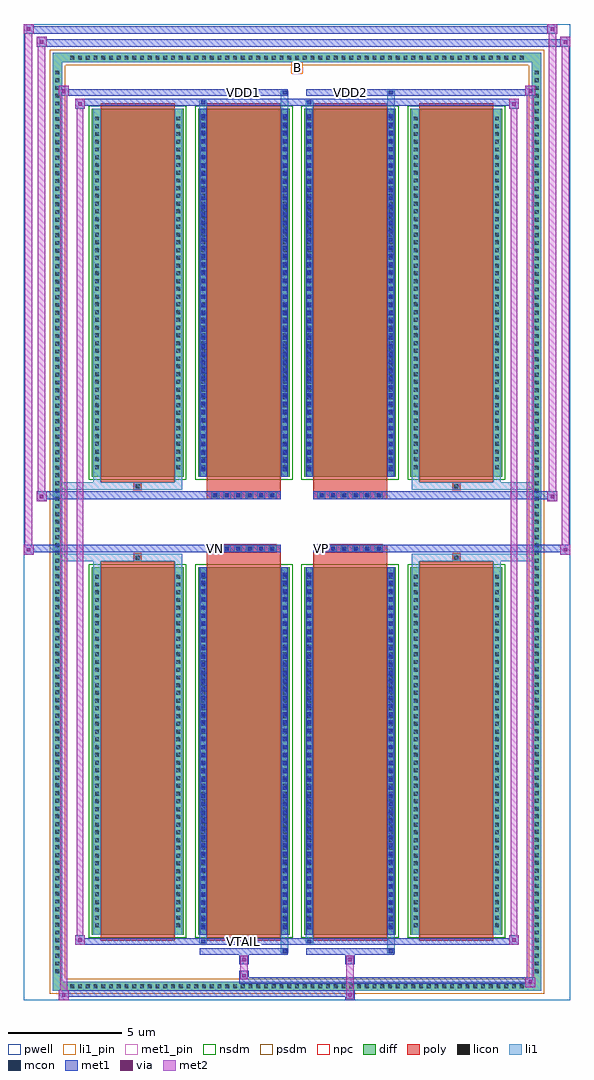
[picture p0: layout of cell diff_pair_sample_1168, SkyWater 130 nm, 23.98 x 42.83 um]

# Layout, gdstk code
import gdstk
lib = gdstk.Library(unit=1e-6, precision=5e-09)
def R(c, l, rs):  # rectangles x0, y0, x1, y1
    for r in rs: c.add(gdstk.rectangle(r[:2], r[2:], *l))
def A(c, l, x, y, w, h, nx, ny, dx, dy):  # array of equal rectangles
    R(c, l, [(x+i*dx, y+j*dy, x+i*dx+w, y+j*dy+h) for i in range(nx) for j in range(ny)])
def P(c, l, *ps):  # polygons
    for p in ps: c.add(gdstk.Polygon(p, *l))
pwell = (64, 44)
diff = (65, 20)
poly = (66, 20)
licon = (66, 44)
li1_pin = (67, 16)
li1 = (67, 20)
mcon = (67, 44)
met1_pin = (68, 16)
met1 = (68, 20)
via = (68, 44)
met2 = (69, 20)
nsdm = (93, 44)
psdm = (94, 20)
npc = (95, 20)

diff_pair_sample_1168 = lib.new_cell('diff_pair_sample_1168')
R(diff_pair_sample_1168, pwell, [(-11.99,-20.98,11.99,21.85), (-9.31,-19.17,-0.01,-0.805), (0.01,-19.17,9.31,-0.805), (-9.31,0.805,-0.01,19.17), (0.01,0.805,9.31,19.17)])
A(diff_pair_sample_1168, diff, -10.065, -20.58, 0.41, 0.41, 59, 2, 0.34, 40.75)
A(diff_pair_sample_1168, diff, -10.72, -19.925, 0.41, 0.41, 1, 117, 0, 0.34)
A(diff_pair_sample_1168, diff, 10.31, -19.925, 0.41, 0.41, 1, 117, 0, 0.34)
A(diff_pair_sample_1168, diff, -9, -18.125, 4.02, 16.14, 4, 2, 4.66, 20.11)
R(diff_pair_sample_1168, diff, [(-10.065,-20.58,10.065,-20.17), (-10.72,-19.925,-10.31,19.925), (10.31,-19.925,10.72,19.925), (-10.065,20.17,10.065,20.58)])
P(diff_pair_sample_1168, diff, [(10.72,20.58),(-10.72,20.58),(-10.72,-20.17),(-10.31,-20.17),(-10.31,20.17),(10.31,20.17),(10.31,-20.17),(-10.31,-20.17),(-10.72,-20.17),(-10.72,-20.58),(10.72,-20.58)])
A(diff_pair_sample_1168, poly, -8.61, -18.375, 3.24, 16.64, 4, 2, 4.66, 20.11)
A(diff_pair_sample_1168, poly, -3.745, -1.335, 0.33, 0.33, 6, 2, 0.5, 2.34)
A(diff_pair_sample_1168, poly, 0.915, -1.335, 0.33, 0.33, 6, 2, 0.5, 2.34)
R(diff_pair_sample_1168, poly, [(-7.155,-1.735,-6.825,-1.405), (-7.155,-1.735,-6.825,-1.405), (-3.95,-1.735,-0.71,-1.335), (0.71,-1.735,3.95,-1.335), (6.825,-1.735,7.155,-1.405), (6.825,-1.735,7.155,-1.405), (-3.95,-1.335,-0.71,-1.005), (0.71,-1.335,3.95,-1.005), (-3.95,1.005,-0.71,1.335), (0.71,1.005,3.95,1.335), (-3.95,1.335,-0.71,1.735), (0.71,1.335,3.95,1.735), (-7.155,1.405,-6.825,1.735), (-7.155,1.405,-6.825,1.735), (6.825,1.405,7.155,1.735), (6.825,1.405,7.155,1.735)])
A(diff_pair_sample_1168, licon, -9.945, -20.46, 0.17, 0.17, 59, 2, 0.34, 40.75)
A(diff_pair_sample_1168, licon, -10.6, -19.805, 0.17, 0.17, 1, 117, 0, 0.34)
A(diff_pair_sample_1168, licon, 10.43, -19.805, 0.17, 0.17, 1, 117, 0, 0.34)
A(diff_pair_sample_1168, licon, -8.86, -17.79, 0.17, 0.17, 1, 46, 0, 0.34)
A(diff_pair_sample_1168, licon, -5.29, -17.79, 0.17, 0.17, 1, 46, 0, 0.34)
A(diff_pair_sample_1168, licon, -4.2, -17.79, 0.17, 0.17, 1, 46, 0, 0.34)
A(diff_pair_sample_1168, licon, -0.63, -17.79, 0.17, 0.17, 1, 46, 0, 0.34)
A(diff_pair_sample_1168, licon, 0.46, -17.79, 0.17, 0.17, 1, 46, 0, 0.34)
A(diff_pair_sample_1168, licon, 4.03, -17.79, 0.17, 0.17, 1, 46, 0, 0.34)
A(diff_pair_sample_1168, licon, 5.12, -17.79, 0.17, 0.17, 1, 46, 0, 0.34)
A(diff_pair_sample_1168, licon, 8.69, -17.79, 0.17, 0.17, 1, 46, 0, 0.34)
A(diff_pair_sample_1168, licon, -3.665, -1.255, 0.17, 0.17, 6, 2, 0.5, 2.34)
A(diff_pair_sample_1168, licon, 0.995, -1.255, 0.17, 0.17, 6, 2, 0.5, 2.34)
A(diff_pair_sample_1168, licon, -8.86, 2.32, 0.17, 0.17, 1, 46, 0, 0.34)
A(diff_pair_sample_1168, licon, -5.29, 2.32, 0.17, 0.17, 1, 46, 0, 0.34)
A(diff_pair_sample_1168, licon, -4.2, 2.32, 0.17, 0.17, 1, 46, 0, 0.34)
A(diff_pair_sample_1168, licon, -0.63, 2.32, 0.17, 0.17, 1, 46, 0, 0.34)
A(diff_pair_sample_1168, licon, 0.46, 2.32, 0.17, 0.17, 1, 46, 0, 0.34)
A(diff_pair_sample_1168, licon, 4.03, 2.32, 0.17, 0.17, 1, 46, 0, 0.34)
A(diff_pair_sample_1168, licon, 5.12, 2.32, 0.17, 0.17, 1, 46, 0, 0.34)
A(diff_pair_sample_1168, licon, 8.69, 2.32, 0.17, 0.17, 1, 46, 0, 0.34)
R(diff_pair_sample_1168, licon, [(-7.075,-1.655,-6.905,-1.485), (6.905,-1.655,7.075,-1.485), (-7.075,1.485,-6.905,1.655), (6.905,1.485,7.075,1.655)])
R(diff_pair_sample_1168, li1_pin, [(-0.25,19.67,0.25,20.17)])
A(diff_pair_sample_1168, li1, -10.025, -20.54, 0.33, 0.33, 59, 2, 0.34, 40.75)
A(diff_pair_sample_1168, li1, -10.68, -19.885, 0.33, 0.33, 1, 117, 0, 0.34)
A(diff_pair_sample_1168, li1, 10.35, -19.885, 0.33, 0.33, 1, 117, 0, 0.34)
A(diff_pair_sample_1168, li1, -4.2, -17.88, 0.17, 0.17, 1, 44, 0, 0.36)
A(diff_pair_sample_1168, li1, -0.63, -17.88, 0.17, 0.17, 1, 44, 0, 0.36)
A(diff_pair_sample_1168, li1, 0.46, -17.88, 0.17, 0.17, 1, 44, 0, 0.36)
A(diff_pair_sample_1168, li1, 4.03, -17.88, 0.17, 0.17, 1, 44, 0, 0.36)
A(diff_pair_sample_1168, li1, -8.94, -17.87, 0.33, 0.33, 1, 46, 0, 0.34)
A(diff_pair_sample_1168, li1, -5.37, -17.87, 0.33, 0.33, 1, 46, 0, 0.34)
A(diff_pair_sample_1168, li1, -4.28, -17.87, 0.33, 0.33, 1, 46, 0, 0.34)
A(diff_pair_sample_1168, li1, -0.71, -17.87, 0.33, 0.33, 1, 46, 0, 0.34)
A(diff_pair_sample_1168, li1, 0.38, -17.87, 0.33, 0.33, 1, 46, 0, 0.34)
A(diff_pair_sample_1168, li1, 3.95, -17.87, 0.33, 0.33, 1, 46, 0, 0.34)
A(diff_pair_sample_1168, li1, 5.04, -17.87, 0.33, 0.33, 1, 46, 0, 0.34)
A(diff_pair_sample_1168, li1, 8.61, -17.87, 0.33, 0.33, 1, 46, 0, 0.34)
A(diff_pair_sample_1168, li1, -3.745, -1.335, 0.33, 0.33, 6, 2, 0.5, 2.34)
A(diff_pair_sample_1168, li1, 0.915, -1.335, 0.33, 0.33, 6, 2, 0.5, 2.34)
A(diff_pair_sample_1168, li1, -4.2, 2.23, 0.17, 0.17, 1, 44, 0, 0.36)
A(diff_pair_sample_1168, li1, -0.63, 2.23, 0.17, 0.17, 1, 44, 0, 0.36)
A(diff_pair_sample_1168, li1, 0.46, 2.23, 0.17, 0.17, 1, 44, 0, 0.36)
A(diff_pair_sample_1168, li1, 4.03, 2.23, 0.17, 0.17, 1, 44, 0, 0.36)
A(diff_pair_sample_1168, li1, -8.94, 2.24, 0.33, 0.33, 1, 46, 0, 0.34)
A(diff_pair_sample_1168, li1, -5.37, 2.24, 0.33, 0.33, 1, 46, 0, 0.34)
A(diff_pair_sample_1168, li1, -4.28, 2.24, 0.33, 0.33, 1, 46, 0, 0.34)
A(diff_pair_sample_1168, li1, -0.71, 2.24, 0.33, 0.33, 1, 46, 0, 0.34)
A(diff_pair_sample_1168, li1, 0.38, 2.24, 0.33, 0.33, 1, 46, 0, 0.34)
A(diff_pair_sample_1168, li1, 3.95, 2.24, 0.33, 0.33, 1, 46, 0, 0.34)
A(diff_pair_sample_1168, li1, 5.04, 2.24, 0.33, 0.33, 1, 46, 0, 0.34)
A(diff_pair_sample_1168, li1, 8.61, 2.24, 0.33, 0.33, 1, 46, 0, 0.34)
R(diff_pair_sample_1168, li1, [(-10.72,-20.58,-10.31,-20.17), (-10.72,-20.58,-10.31,-20.17), (-10.31,-20.58,10.31,-20.17), (10.31,-20.58,10.72,-20.17), (10.31,-20.58,10.72,-20.17), (-10.72,-20.17,-10.31,20.17), (10.31,-20.17,10.72,20.17), (-0.71,-18.93,-0.38,-18.125), (-0.63,-18.93,-0.46,-18.76), (3.95,-18.93,4.28,-18.125), (4.03,-18.93,4.2,-18.76), (-4.28,-18.5,-3.95,-18.125), (-4.2,-18.5,-4.03,-18.33), (0.38,-18.5,0.71,-18.125), (0.46,-18.5,0.63,-18.33), (-8.94,-18.125,-8.61,-1.985), (-5.37,-18.125,-5.04,-1.985), (-4.28,-18.125,-3.95,-1.985), (-0.71,-18.125,-0.38,-1.985), (0.38,-18.125,0.71,-1.985), (3.95,-18.125,4.28,-1.985), (5.04,-18.125,5.37,-1.985), (8.61,-18.125,8.94,-1.985), (-4.2,-17.88,-4.03,-2.23), (-0.63,-17.88,-0.46,-2.23), (0.46,-17.88,0.63,-2.23), (4.03,-17.88,4.2,-2.23), (-8.94,-1.985,-8.61,-1.405), (-5.37,-1.985,-5.04,-1.405), (5.04,-1.985,5.37,-1.405), (8.61,-1.985,8.94,-1.405), (-10.72,-1.735,-7.155,-1.405), (-8.94,-1.735,-7.155,-1.405), (-7.155,-1.735,-6.825,-1.405), (-6.825,-1.735,-5.04,-1.405), (5.04,-1.735,6.825,-1.405), (6.825,-1.735,7.155,-1.405), (6.825,-1.735,10.72,-1.405), (7.155,-1.735,8.94,-1.405), (-10.72,1.405,-7.155,1.735), (-8.94,1.405,-7.155,1.735), (-8.94,1.405,-8.61,1.985), (-7.155,1.405,-6.825,1.735), (-6.825,1.405,-5.04,1.735), (-5.37,1.405,-5.04,1.985), (5.04,1.405,6.825,1.735), (5.04,1.405,5.37,1.985), (6.825,1.405,7.155,1.735), (6.825,1.405,10.72,1.735), (7.155,1.405,8.94,1.735), (8.61,1.405,8.94,1.985), (-8.94,1.985,-8.61,18.125), (-5.37,1.985,-5.04,18.125), (-4.28,1.985,-3.95,18.125), (-0.71,1.985,-0.38,18.125), (0.38,1.985,0.71,18.125), (3.95,1.985,4.28,18.125), (5.04,1.985,5.37,18.125), (8.61,1.985,8.94,18.125), (-4.2,2.23,-4.03,17.88), (-0.63,2.23,-0.46,17.88), (0.46,2.23,0.63,17.88), (4.03,2.23,4.2,17.88), (-4.28,18.125,-3.95,18.5), (-0.71,18.125,-0.38,18.93), (0.38,18.125,0.71,18.5), (3.95,18.125,4.28,18.93), (-4.2,18.33,-4.03,18.5), (0.46,18.33,0.63,18.5), (-0.63,18.76,-0.46,18.93), (4.03,18.76,4.2,18.93), (-10.72,20.17,-10.31,20.58), (-10.72,20.17,-10.31,20.58), (-10.31,20.17,10.31,20.58), (10.31,20.17,10.72,20.58), (10.31,20.17,10.72,20.58)])
A(diff_pair_sample_1168, mcon, -4.2, -17.88, 0.17, 0.17, 1, 44, 0, 0.36)
A(diff_pair_sample_1168, mcon, -0.63, -17.88, 0.17, 0.17, 1, 44, 0, 0.36)
A(diff_pair_sample_1168, mcon, 0.46, -17.88, 0.17, 0.17, 1, 44, 0, 0.36)
A(diff_pair_sample_1168, mcon, 4.03, -17.88, 0.17, 0.17, 1, 44, 0, 0.36)
A(diff_pair_sample_1168, mcon, -3.665, -1.255, 0.17, 0.17, 6, 2, 0.5, 2.34)
A(diff_pair_sample_1168, mcon, 0.995, -1.255, 0.17, 0.17, 6, 2, 0.5, 2.34)
A(diff_pair_sample_1168, mcon, -4.2, 2.23, 0.17, 0.17, 1, 44, 0, 0.36)
A(diff_pair_sample_1168, mcon, -0.63, 2.23, 0.17, 0.17, 1, 44, 0, 0.36)
A(diff_pair_sample_1168, mcon, 0.46, 2.23, 0.17, 0.17, 1, 44, 0, 0.36)
A(diff_pair_sample_1168, mcon, 4.03, 2.23, 0.17, 0.17, 1, 44, 0, 0.36)
R(diff_pair_sample_1168, mcon, [(-0.63,-18.93,-0.46,-18.76), (4.03,-18.93,4.2,-18.76), (-4.2,-18.5,-4.03,-18.33), (0.46,-18.5,0.63,-18.33), (-4.2,18.33,-4.03,18.5), (0.46,18.33,0.63,18.5), (-0.63,18.76,-0.46,18.93), (4.03,18.76,4.2,18.93)])
R(diff_pair_sample_1168, met1_pin, [(-2.465,-18.54,-2.195,-18.27), (-3.715,-1.295,-3.445,-1.025), (0.945,-1.295,1.215,-1.025), (-2.465,18.72,-2.195,18.99), (2.195,18.72,2.465,18.99)])
A(diff_pair_sample_1168, met1, -4.26, -17.94, 0.29, 0.29, 1, 44, 0, 0.36)
A(diff_pair_sample_1168, met1, -0.69, -17.94, 0.29, 0.29, 1, 44, 0, 0.36)
A(diff_pair_sample_1168, met1, 0.4, -17.94, 0.29, 0.29, 1, 44, 0, 0.36)
A(diff_pair_sample_1168, met1, 3.97, -17.94, 0.29, 0.29, 1, 44, 0, 0.36)
A(diff_pair_sample_1168, met1, -3.725, -1.315, 0.29, 0.29, 6, 2, 0.5, 2.34)
A(diff_pair_sample_1168, met1, 0.935, -1.315, 0.29, 0.29, 6, 2, 0.5, 2.34)
A(diff_pair_sample_1168, met1, -4.26, 2.17, 0.29, 0.29, 1, 44, 0, 0.36)
A(diff_pair_sample_1168, met1, -0.69, 2.17, 0.29, 0.29, 1, 44, 0, 0.36)
A(diff_pair_sample_1168, met1, 0.4, 2.17, 0.29, 0.29, 1, 44, 0, 0.36)
A(diff_pair_sample_1168, met1, 3.97, 2.17, 0.29, 0.29, 1, 44, 0, 0.36)
R(diff_pair_sample_1168, met1, [(-10.45,-20.98,-10.02,-20.55), (2.115,-20.98,2.545,-20.55), (-10.45,-20.84,2.545,-20.55), (10.02,-20.41,10.45,-19.98), (-2.545,-20.27,10.45,-19.98), (-2.545,-20.13,-2.115,-19.7), (-2.545,-19.42,-2.115,-18.99), (2.115,-19.42,2.545,-18.99), (-4.26,-18.99,-0.4,-18.7), (-0.69,-18.99,-0.4,-18.7), (0.4,-18.99,4.26,-18.7), (3.97,-18.99,4.26,-18.7), (-9.74,-18.56,-9.31,-18.13), (-9.74,-18.56,-4.26,-18.27), (-4.26,-18.56,-3.97,-18.27), (-4.26,-18.56,-0.4,-18.27), (-0.4,-18.56,0.4,-18.27), (0.4,-18.56,0.69,-18.27), (0.4,-18.56,4.26,-18.27), (4.26,-18.56,9.74,-18.27), (9.31,-18.56,9.74,-18.13), (-4.26,-18.125,-3.97,-1.985), (-0.69,-18.125,-0.4,-1.985), (0.4,-18.125,0.69,-1.985), (3.97,-18.125,4.26,-1.985), (-11.99,-1.435,-11.56,-1.005), (11.56,-1.435,11.99,-1.005), (-11.99,-1.335,-0.71,-1.005), (-3.95,-1.335,-0.71,-1.005), (0.71,-1.335,3.95,-1.005), (0.71,-1.335,11.99,-1.005), (-11.42,0.905,-10.99,1.335), (10.99,0.905,11.42,1.335), (-11.42,1.005,-3.95,1.335), (-3.95,1.005,-0.71,1.335), (0.71,1.005,3.95,1.335), (3.95,1.005,11.42,1.335), (-4.26,1.985,-3.97,18.125), (-0.69,1.985,-0.4,18.125), (0.4,1.985,0.69,18.125), (3.97,1.985,4.26,18.125), (-9.74,18.13,-9.31,18.56), (9.31,18.13,9.74,18.56), (-9.74,18.27,-4.26,18.56), (-4.26,18.27,-3.97,18.56), (-4.26,18.27,-0.4,18.56), (-0.4,18.27,0.4,18.56), (0.4,18.27,0.69,18.56), (0.4,18.27,4.26,18.56), (4.26,18.27,9.74,18.56), (-10.45,18.7,-10.02,19.13), (-10.45,18.7,-4.26,18.99), (-4.26,18.7,-0.4,18.99), (-0.69,18.7,-0.4,18.99), (0.4,18.7,4.26,18.99), (3.97,18.7,4.26,18.99), (4.26,18.7,10.45,18.99), (10.02,18.7,10.45,19.13), (-11.42,20.85,-10.99,21.28), (-11.42,20.85,-9.31,21.18), (-9.31,20.85,9.31,21.18), (9.31,20.85,11.99,21.18), (11.56,20.85,11.99,21.28), (-11.99,21.42,-11.56,21.85), (-11.99,21.42,-9.31,21.75), (-9.31,21.42,9.31,21.75), (9.31,21.42,11.42,21.75), (10.99,21.42,11.42,21.85)])
R(diff_pair_sample_1168, via, [(-10.31,-20.84,-10.16,-20.69), (2.255,-20.84,2.405,-20.69), (10.16,-20.27,10.31,-20.12), (-2.405,-19.99,-2.255,-19.84), (-2.405,-19.28,-2.255,-19.13), (2.255,-19.28,2.405,-19.13), (-9.6,-18.42,-9.45,-18.27), (9.45,-18.42,9.6,-18.27), (-11.85,-1.295,-11.7,-1.145), (11.7,-1.295,11.85,-1.145), (-11.28,1.045,-11.13,1.195), (11.13,1.045,11.28,1.195), (-9.6,18.27,-9.45,18.42), (9.45,18.27,9.6,18.42), (-10.31,18.84,-10.16,18.99), (10.16,18.84,10.31,18.99), (-11.28,20.99,-11.13,21.14), (11.7,20.99,11.85,21.14), (-11.85,21.56,-11.7,21.71), (11.13,21.56,11.28,21.71)])
R(diff_pair_sample_1168, met2, [(-10.45,-20.98,-10.02,-20.55), (-10.38,-20.98,-10.09,19.13), (-10.09,-20.98,-10.02,-20.55), (-10.4,-20.93,-10.07,-20.6), (2.165,-20.93,2.495,-20.6), (2.165,-20.6,2.495,-19.37), (10.02,-20.41,10.45,-19.98), (10.09,-20.41,10.38,19.13), (10.38,-20.41,10.45,-19.98), (10.07,-20.36,10.4,-20.03), (-2.495,-20.08,-2.165,-19.75), (-2.495,-19.75,-2.165,-19.37), (-2.495,-19.37,-2.165,-19.04), (2.165,-19.37,2.495,-19.04), (-9.74,-18.56,-9.31,-18.13), (-9.67,-18.56,-9.38,18.56), (-9.38,-18.56,-9.31,-18.13), (9.31,-18.56,9.74,-18.13), (9.38,-18.56,9.67,18.56), (9.67,-18.56,9.74,-18.13), (-9.69,-18.51,-9.36,-18.18), (9.36,-18.51,9.69,-18.18), (-11.99,-1.435,-11.56,-1.005), (-11.94,-1.435,-11.61,21.85), (-11.61,-1.435,-11.56,-1.005), (11.56,-1.435,11.99,-1.005), (11.61,-1.435,11.94,21.28), (11.94,-1.435,11.99,-1.005), (-11.94,-1.385,-11.61,-1.055), (11.61,-1.385,11.94,-1.055), (-11.42,0.905,-10.99,1.335), (-11.37,0.905,-11.04,21.28), (-11.04,0.905,-10.99,1.335), (10.99,0.905,11.42,1.335), (11.04,0.905,11.37,21.85), (11.37,0.905,11.42,1.335), (-11.37,0.955,-11.04,1.285), (11.04,0.955,11.37,1.285), (-9.74,18.13,-9.31,18.56), (-9.38,18.13,-9.31,18.56), (9.31,18.13,9.74,18.56), (9.67,18.13,9.74,18.56), (-9.69,18.18,-9.36,18.51), (9.36,18.18,9.69,18.51), (-10.45,18.7,-10.02,19.13), (-10.09,18.7,-10.02,19.13), (10.02,18.7,10.45,19.13), (10.38,18.7,10.45,19.13), (-10.4,18.75,-10.07,19.08), (10.07,18.75,10.4,19.08), (-11.42,20.85,-10.99,21.28), (-11.04,20.85,-10.99,21.28), (11.56,20.85,11.99,21.28), (11.94,20.85,11.99,21.28), (-11.37,20.9,-11.04,21.23), (11.61,20.9,11.94,21.23), (-11.99,21.42,-11.56,21.85), (-11.61,21.42,-11.56,21.85), (10.99,21.42,11.42,21.85), (11.37,21.42,11.42,21.85), (-11.94,21.47,-11.61,21.8), (11.04,21.47,11.37,21.8)])
A(diff_pair_sample_1168, nsdm, -9.13, -18.255, 4.28, 16.4, 4, 2, 4.66, 20.11)
P(diff_pair_sample_1168, psdm, [(10.85,20.71),(-10.85,20.71),(-10.85,-20.04),(-10.18,-20.04),(-10.18,20.04),(10.18,20.04),(10.18,-20.04),(-10.18,-20.04),(-10.85,-20.04),(-10.85,-20.71),(10.85,-20.71)])
A(diff_pair_sample_1168, npc, -3.765, -1.355, 0.37, 0.37, 6, 2, 0.5, 2.34)
A(diff_pair_sample_1168, npc, 0.895, -1.355, 0.37, 0.37, 6, 2, 0.5, 2.34)
R(diff_pair_sample_1168, npc, [(-7.175,-1.755,-6.805,-1.385), (6.805,-1.755,7.175,-1.385), (-3.765,-1.355,-2.895,-0.985), (-3.765,-1.355,-2.895,-0.985), (-3.265,-1.355,-2.395,-0.985), (-3.265,-1.355,-2.395,-0.985), (-2.765,-1.355,-1.895,-0.985), (-2.765,-1.355,-1.895,-0.985), (-2.265,-1.355,-1.395,-0.985), (-2.265,-1.355,-1.395,-0.985), (-1.765,-1.355,-0.895,-0.985), (-1.765,-1.355,-0.895,-0.985), (0.895,-1.355,1.765,-0.985), (0.895,-1.355,1.765,-0.985), (1.395,-1.355,2.265,-0.985), (1.395,-1.355,2.265,-0.985), (1.895,-1.355,2.765,-0.985), (1.895,-1.355,2.765,-0.985), (2.395,-1.355,3.265,-0.985), (2.395,-1.355,3.265,-0.985), (2.895,-1.355,3.765,-0.985), (2.895,-1.355,3.765,-0.985), (-3.765,0.985,-2.895,1.355), (-3.765,0.985,-2.895,1.355), (-3.265,0.985,-2.395,1.355), (-3.265,0.985,-2.395,1.355), (-2.765,0.985,-1.895,1.355), (-2.765,0.985,-1.895,1.355), (-2.265,0.985,-1.395,1.355), (-2.265,0.985,-1.395,1.355), (-1.765,0.985,-0.895,1.355), (-1.765,0.985,-0.895,1.355), (0.895,0.985,1.765,1.355), (0.895,0.985,1.765,1.355), (1.395,0.985,2.265,1.355), (1.395,0.985,2.265,1.355), (1.895,0.985,2.765,1.355), (1.895,0.985,2.765,1.355), (2.395,0.985,3.265,1.355), (2.395,0.985,3.265,1.355), (2.895,0.985,3.765,1.355), (2.895,0.985,3.765,1.355), (-7.175,1.385,-6.805,1.755), (6.805,1.385,7.175,1.755)])
diff_pair_sample_1168.add(gdstk.Label('VTAIL', (-2.33,-18.405), layer=68, texttype=5))
diff_pair_sample_1168.add(gdstk.Label('VN', (-3.58,-1.16), layer=68, texttype=5))
diff_pair_sample_1168.add(gdstk.Label('VP', (1.08,-1.16), layer=68, texttype=5))
diff_pair_sample_1168.add(gdstk.Label('B', (0,19.92), layer=67, texttype=5))
diff_pair_sample_1168.add(gdstk.Label('VDD2', (2.33,18.855), layer=68, texttype=5))
diff_pair_sample_1168.add(gdstk.Label('VDD1', (-2.33,18.855), layer=68, texttype=5))

lib.write_gds('diff_pair_sample_1168.gds')
